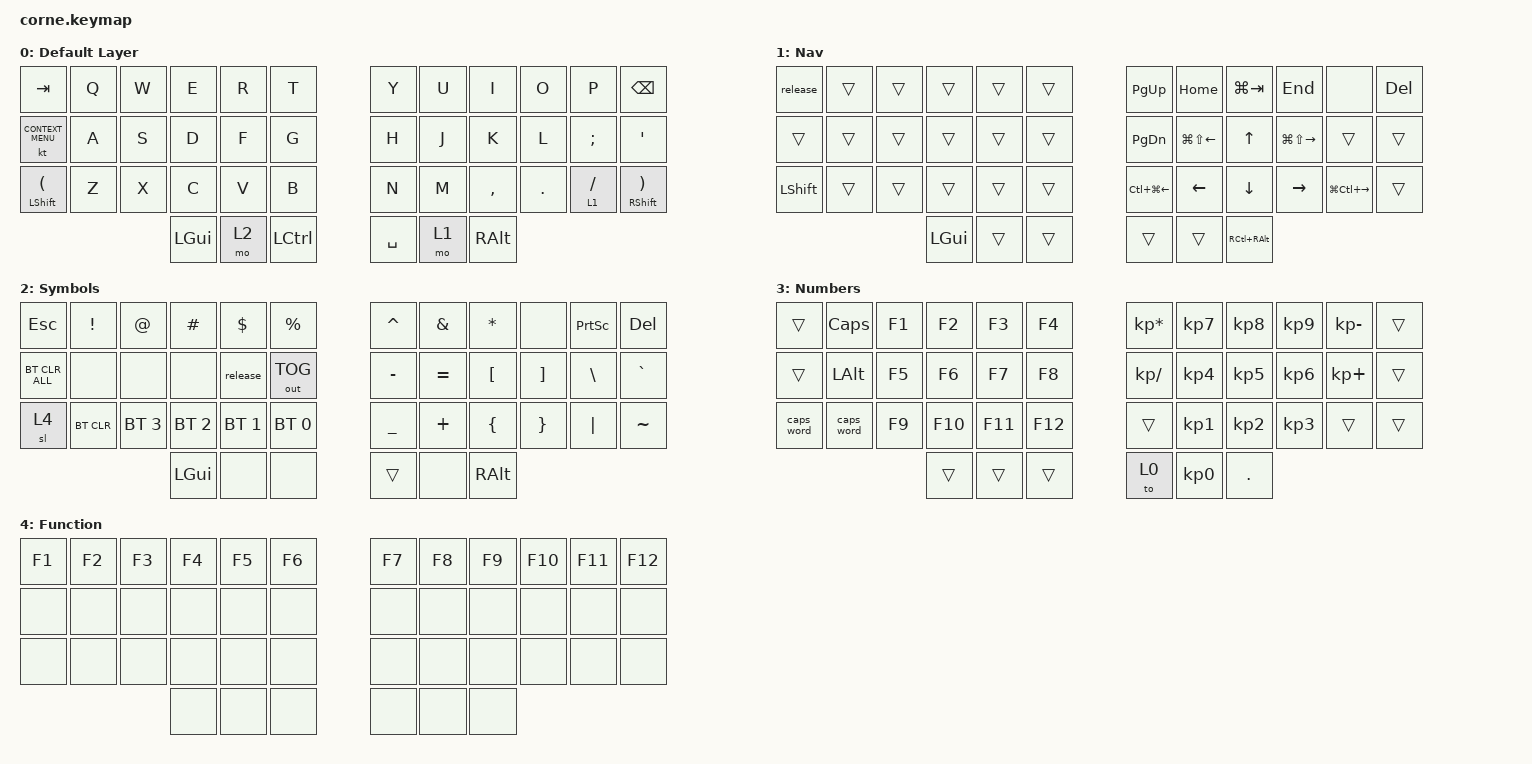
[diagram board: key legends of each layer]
/*
 * Copyright (c) 2020 The ZMK Contributors
 *
 * SPDX-License-Identifier: MIT
 */

#include <behaviors.dtsi>
#include <dt-bindings/zmk/bt.h>
#include <dt-bindings/zmk/keys.h>
#include <dt-bindings/zmk/outputs.h>

/ {
    combos {
        compatible = "zmk,combos";

        combo_space2enter {
            bindings = <&kp ENTER>;
            key-positions = <39 23>;
            timeout-ms = <250>;
        };

        combo_locknumpad {
            bindings = <&tog 3>;
            key-positions = <39 40>;
            slow-release;
            timeout-ms = <1>;
            require-prior-idle-ms = <900>;
            layers = <0>;
        };
    };

    macros {
        release: release {
            compatible = "zmk,behavior-macro";
            #binding-cells = <0>;
            bindings = <&kp LS(RS(LA(RA(RC(LG(RG(LEFT_CONTROL)))))))>;
            label = "RELEASE";
        };
    };

    behaviors {
        Tap_to_3: Tap_to_3 {
            compatible = "zmk,behavior-tap-dance";
            label = "TAP_TO_3";
            #binding-cells = <0>;
            bindings = <&kp SLASH>, <&to 3>;
        };
    };

    keymap {
        compatible = "zmk,keymap";

        default_layer {
            display-name = "Default Layer";

            // -----------------------------------------------------------------------------------------
            // |  TAB |  Q  |  W  |  E  |  R  |  T  |   |  Y  |  U   |  I  |  O  |  P  | BSPC |
            // | CTRL |  A  |  S  |  D  |  F  |  G  |   |  H  |  J   |  K  |  L  |  ;  |  '   |
            // | SHFT |  Z  |  X  |  C  |  V  |  B  |   |  N  |  M   |  ,  |  .  |  /  | ESC  |
            //                    | GUI | LWR | SPC |   | ENT | RSE  | ALT |

            bindings = <
&kp TAB                     &kp Q  &kp W  &kp E     &kp R  &kp T               &kp Y      &kp U  &kp I      &kp O    &kp P        &kp BSPC
&kt K_CONTEXT_MENU          &kp A  &kp S  &kp D     &kp F  &kp G               &kp H      &kp J  &kp K      &kp L    &kp SEMI     &kp SQT
&mt LSHFT LEFT_PARENTHESIS  &kp Z  &kp X  &kp C     &kp V  &kp B               &kp N      &kp M  &kp COMMA  &kp DOT  &lt 1 SLASH  &mt RIGHT_SHIFT RIGHT_PARENTHESIS
                                          &kp LGUI  &mo 2  &kp LEFT_CONTROL    &kp SPACE  &mo 1  &kp RALT
            >;
        };

        Navigation {
            display-name = "Nav";

            // -----------------------------------------------------------------------------------------
            // |  TAB |  1  |  2  |  3  |  4  |  5  |   |  6  |  7  |  8  |  9  |  0  | BSPC |
            // | BTCLR| BT1 | BT2 | BT3 | BT4 | BT5 |   | LFT | DWN |  UP | RGT |     |      |
            // | SHFT |     |     |     |     |     |   |     |     |     |     |     |      |
            //                    | GUI |     | SPC |   | ENT |     | ALT |

            bindings = <
&release   &trans  &trans  &trans    &trans  &trans    &kp PAGE_UP             &kp HOME                &kp LG(TAB)   &kp END            &none              &kp DELETE
&trans     &trans  &trans  &trans    &trans  &trans    &kp PAGE_DOWN           &kp LG(LS(LEFT_ARROW))  &kp UP_ARROW  &kp LG(LS(RIGHT))  &trans             &trans
&kp LSHFT  &trans  &trans  &trans    &trans  &trans    &kp LC(LG(LEFT_ARROW))  &kp LEFT                &kp DOWN      &kp RIGHT          &kp LG(LC(RIGHT))  &trans
                           &kp LGUI  &trans  &trans    &trans                  &trans                  &kp RC(RALT)
            >;
        };

        Symbol {
            display-name = "Symbols";

            // -----------------------------------------------------------------------------------------
            // |  TAB |  !  |  @  |  #  |  $  |  %  |   |  ^  |  &  |  *  |  (  |  )  | BSPC |
            // | CTRL |     |     |     |     |     |   |  -  |  =  |  [  |  ]  |  \  |  `   |
            // | SHFT |     |     |     |     |     |   |  _  |  +  |  {  |  }  | "|" |  ~   |
            //                    | GUI |     | SPC |   | ENT |     | ALT |

            bindings = <
&kp ESCAPE      &kp EXCL    &kp AT        &kp HASH      &kp DLLR      &kp PRCNT       &kp CARET  &kp AMPS   &kp ASTRK  &none     &kp PRINTSCREEN  &kp DEL
&bt BT_CLR_ALL  &none       &none         &none         &release      &out OUT_TOG    &kp MINUS  &kp EQUAL  &kp LBKT   &kp RBKT  &kp BSLH         &kp GRAVE
&sl 4           &bt BT_CLR  &bt BT_SEL 3  &bt BT_SEL 2  &bt BT_SEL 1  &bt BT_SEL 0    &kp UNDER  &kp PLUS   &kp LBRC   &kp RBRC  &kp PIPE         &kp TILDE
                                          &kp LGUI      &none         &none           &trans     &none      &kp RALT
            >;
        };

        Numpad {
            bindings = <
&trans      &kp CAPSLOCK  &kp F1  &kp F2   &kp F3   &kp F4     &kp KP_MULTIPLY  &kp KP_NUMBER_7  &kp KP_NUMBER_8  &kp KP_NUMBER_9  &kp KP_MINUS  &trans
&trans      &kp LEFT_ALT  &kp F5  &kp F6   &kp F7   &kp F8     &kp KP_DIVIDE    &kp KP_NUMBER_4  &kp KP_NUMBER_5  &kp KP_NUMBER_6  &kp KP_PLUS   &trans
&caps_word  &caps_word    &kp F9  &kp F10  &kp F11  &kp F12    &trans           &kp KP_NUMBER_1  &kp KP_NUMBER_2  &kp KP_NUMBER_3  &trans        &trans
                                  &trans   &trans   &trans     &to 0            &kp KP_NUMBER_0  &kp PERIOD
            >;

            label = "Numbers";
        };

        Function {
            bindings = <
&kp F1  &kp F2  &kp F3  &kp F4  &kp F5  &kp F6    &kp F7  &kp F8  &kp F9  &kp F10  &kp F11  &kp F12
&none   &none   &none   &none   &none   &none     &none   &none   &none   &none    &none    &none
&none   &none   &none   &none   &none   &none     &none   &none   &none   &none    &none    &none
                        &none   &none   &none     &none   &none   &none
            >;

            label = "Function";
        };
    };
};
